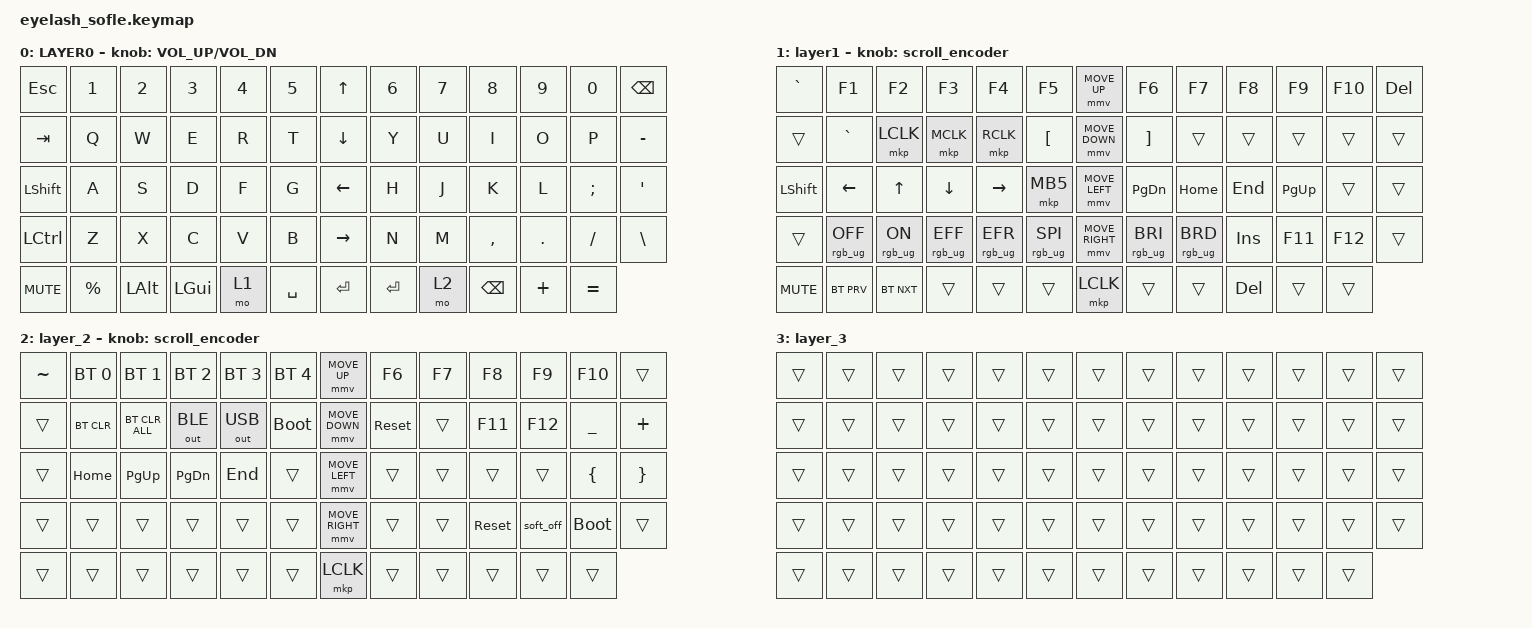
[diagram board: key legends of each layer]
#define ZMK_POINTING_DEFAULT_MOVE_VAL 1200  // 600
#define ZMK_POINTING_DEFAULT_SCRL_VAL 25   // 10

#include <input/processors.dtsi>
#include <zephyr/dt-bindings/input/input-event-codes.h>
#include <behaviors.dtsi>
#include <dt-bindings/zmk/bt.h>
#include <dt-bindings/zmk/keys.h>
#include <dt-bindings/zmk/outputs.h>
#include <dt-bindings/zmk/pointing.h>
#include <dt-bindings/zmk/rgb.h>

&mmv_input_listener { input-processors = <&zip_xy_scaler 2 1>; };

&msc_input_listener { input-processors = <&zip_scroll_scaler 2 1>; };

&msc {
    acceleration-exponent = <1>;      // 0
    time-to-max-speed-ms = <100>;       // 300
    delay-ms = <0>;                   // 0
};

&mmv {
    time-to-max-speed-ms = <500>;
    acceleration-exponent = <1>;
    trigger-period-ms = <16>;
};

/ {
    scroll_encoder: scroll_encoder {
        compatible = "zmk,behavior-sensor-rotate";
        #sensor-binding-cells = <0>;
        bindings = <&msc SCRL_DOWN>, <&msc SCRL_UP>;

        tap-ms = <100>;
    };

    behaviors {
    };

    keymap {
        compatible = "zmk,keymap";

        layer0 {
            bindings = <
&kp ESC         &kp N1     &kp N2    &kp N3    &kp N4  &kp N5       &kp UP_ARROW     &kp N6     &kp N7  &kp N8         &kp N9    &kp N0     &kp BACKSPACE
&kp TAB         &kp Q      &kp W     &kp E     &kp R   &kp T        &kp DOWN_ARROW   &kp Y      &kp U   &kp I          &kp O     &kp P      &kp MINUS
&kp LEFT_SHIFT  &kp A      &kp S     &kp D     &kp F   &kp G        &kp LEFT_ARROW   &kp H      &kp J   &kp K          &kp L     &kp SEMI   &kp APOS
&kp LCTRL       &kp Z      &kp X     &kp C     &kp V   &kp B        &kp RIGHT_ARROW  &kp N      &kp M   &kp COMMA      &kp DOT   &kp FSLH   &kp BSLH
&kp C_MUTE      &kp PRCNT  &kp LALT  &kp LGUI  &mo 1   &kp SPACE    &kp ENTER        &kp ENTER  &mo 2   &kp BACKSPACE  &kp PLUS  &kp EQUAL
            >;

            sensor-bindings = <&inc_dec_kp C_VOLUME_UP C_VOL_DN>;
            display-name = "LAYER0";
        };

        layer_1 {
            bindings = <
&kp GRAVE       &kp F1           &kp F2          &kp F3           &kp F4           &kp F5             &mmv MOVE_UP     &kp F6             &kp F7           &kp F8      &kp F9     &kp F10  &kp DEL
&trans          &kp GRAVE        &mkp LCLK       &mkp MCLK        &mkp RCLK        &kp LBKT           &mmv MOVE_DOWN   &kp RIGHT_BRACKET  &trans           &trans      &trans     &trans   &trans
&kp LEFT_SHIFT  &kp LEFT_ARROW   &kp UP_ARROW    &kp DOWN_ARROW   &kp RIGHT        &mkp MB5           &mmv MOVE_LEFT   &kp PG_DN          &kp HOME         &kp END     &kp PG_UP  &trans   &trans
&trans          &rgb_ug RGB_OFF  &rgb_ug RGB_ON  &rgb_ug RGB_EFF  &rgb_ug RGB_EFR  &rgb_ug RGB_SPI    &mmv MOVE_RIGHT  &rgb_ug RGB_BRI    &rgb_ug RGB_BRD  &kp INSERT  &kp F11    &kp F12  &trans
&kp C_MUTE      &bt BT_PRV       &bt BT_NXT      &trans           &trans           &trans             &mkp LCLK        &trans             &trans           &kp DEL     &trans     &trans
            >;

            display-name = "layer1";
            sensor-bindings = <&scroll_encoder>;
        };

        layer_2 {
            bindings = <
&kp TILDE  &bt BT_SEL 0  &bt BT_SEL 1    &bt BT_SEL 2   &bt BT_SEL 3  &bt BT_SEL 4    &mmv MOVE_UP     &kp F6      &kp F7  &kp F8      &kp F9     &kp F10      &trans
&trans     &bt BT_CLR    &bt BT_CLR_ALL  &out OUT_BLE   &out OUT_USB  &bootloader     &mmv MOVE_DOWN   &sys_reset  &trans  &kp F11     &kp F12    &kp UNDER    &kp PLUS
&trans     &kp HOME      &kp PAGE_UP     &kp PAGE_DOWN  &kp END       &trans          &mmv MOVE_LEFT   &trans      &trans  &trans      &trans     &kp LBRC     &kp RBRC
&trans     &trans        &trans          &trans         &trans        &trans          &mmv MOVE_RIGHT  &trans      &trans  &sys_reset  &soft_off  &bootloader  &trans
&trans     &trans        &trans          &trans         &trans        &trans          &mkp LCLK        &trans      &trans  &trans      &trans     &trans
            >;

            sensor-bindings = <&scroll_encoder>;
        };

        layer_3 {
            bindings = <
&trans  &trans  &trans  &trans  &trans  &trans    &trans  &trans  &trans  &trans  &trans  &trans  &trans
&trans  &trans  &trans  &trans  &trans  &trans    &trans  &trans  &trans  &trans  &trans  &trans  &trans
&trans  &trans  &trans  &trans  &trans  &trans    &trans  &trans  &trans  &trans  &trans  &trans  &trans
&trans  &trans  &trans  &trans  &trans  &trans    &trans  &trans  &trans  &trans  &trans  &trans  &trans
&trans  &trans  &trans  &trans  &trans  &trans    &trans  &trans  &trans  &trans  &trans  &trans
            >;
        };
    };
};
